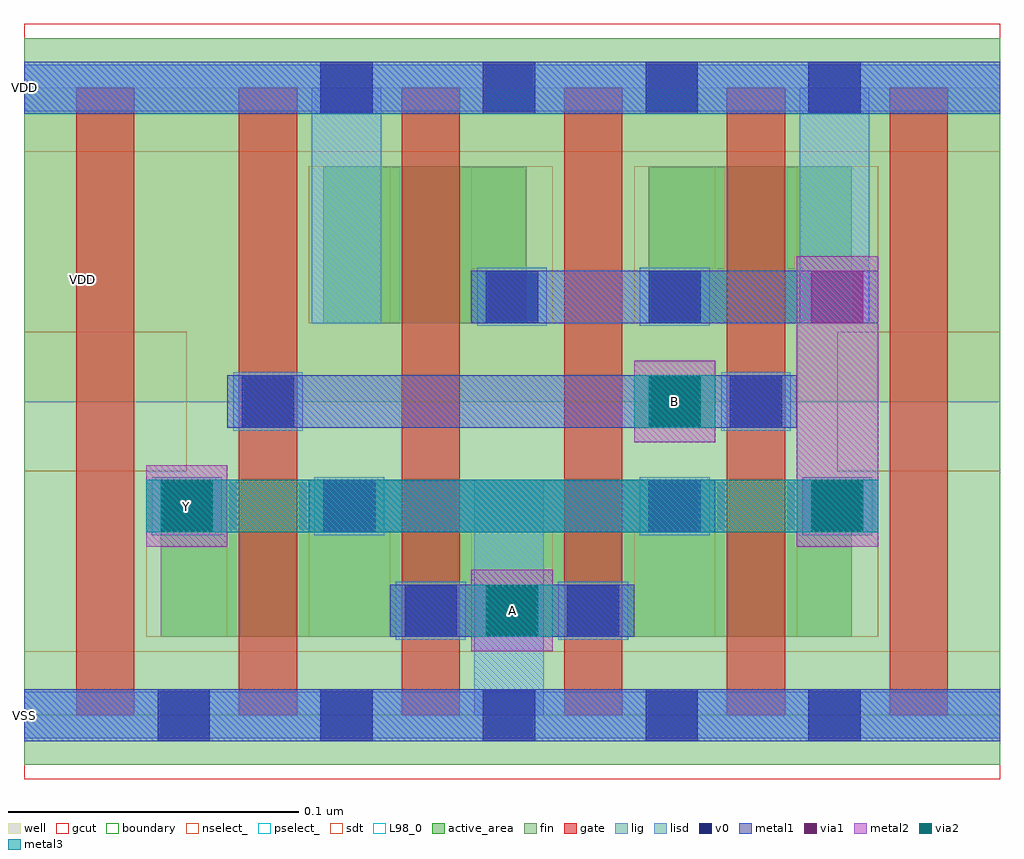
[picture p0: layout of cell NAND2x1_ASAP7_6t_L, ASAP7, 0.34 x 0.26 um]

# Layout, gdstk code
import gdstk
lib = gdstk.Library(unit=1e-6, precision=2.5e-10)
def R(c, l, rs):  # rectangles x0, y0, x1, y1
    for r in rs: c.add(gdstk.rectangle(r[:2], r[2:], *l))
def A(c, l, x, y, w, h, nx, ny, dx, dy):  # array of equal rectangles
    R(c, l, [(x+i*dx, y+j*dy, x+i*dx+w, y+j*dy+h) for i in range(nx) for j in range(ny)])
well = (1, 0)
fin = (2, 0)
gate = (7, 0)
gcut = (10, 0)
active_area = (11, 0)
nselect_ = (12, 0)
pselect_ = (13, 0)
lig = (16, 0)
lisd = (17, 0)
v0 = (18, 0)
metal1 = (19, 0)
metal2 = (20, 0)
via1 = (21, 0)
via2 = (25, 0)
metal3 = (30, 0)
sdt = (88, 0)
L98_0 = (98, 0)
boundary = (100, 0)

nand2x1_asap7_6t_l = lib.new_cell('NAND2x1_ASAP7_6t_L')
R(nand2x1_asap7_6t_l, well, [(-0.056,0.108,0.28,0.216)])
A(nand2x1_asap7_6t_l, fin, -0.056, -0.017, 0.336, 0.061, 1, 8, 0, 0.027)
A(nand2x1_asap7_6t_l, gate, -0.038, 0, 0.02, 0.216, 6, 1, 0.056, 0)
R(nand2x1_asap7_6t_l, gcut, [(-0.056,-0.022,0.28,0.022), (-0.056,0.084,0,0.132), (0.224,0.084,0.28,0.132), (-0.056,0.194,0.28,0.238)])
A(nand2x1_asap7_6t_l, active_area, -0.009, 0.027, 0.07, 0.054, 4, 1, 0.056, 0)
R(nand2x1_asap7_6t_l, active_area, [(0.047,0.135,0.117,0.189), (0.159,0.135,0.229,0.189)])
R(nand2x1_asap7_6t_l, nselect_, [(-0.056,0,0.28,0.108)])
R(nand2x1_asap7_6t_l, pselect_, [(-0.056,0.108,0.28,0.216)])
R(nand2x1_asap7_6t_l, lig, [(-0.056,-0.008,0.28,0.008), (0.072,0.026,0.096,0.046), (0.128,0.026,0.152,0.046), (0.016,0.098,0.04,0.118), (0.184,0.098,0.208,0.118), (-0.056,0.208,0.28,0.224)])
R(nand2x1_asap7_6t_l, lisd, [(0.099,0,0.123,0.081), (0.099,0,0.123,0.081), (-0.012,0.062,0.012,0.082), (0.044,0.062,0.068,0.082), (0.156,0.062,0.18,0.082), (0.212,0.062,0.236,0.082), (0.1,0.134,0.124,0.154), (0.156,0.134,0.18,0.154), (0.043,0.135,0.067,0.216), (0.211,0.135,0.235,0.216)])
A(nand2x1_asap7_6t_l, v0, 0.046, 0.207, 0.018, 0.018, 4, 1, 0.056, 0)
R(nand2x1_asap7_6t_l, v0, [(-0.01,-0.009,0.008,0.009), (0.046,-0.009,0.064,0.009), (0.046,-0.009,0.064,0.009), (0.102,-0.009,0.12,0.009), (0.102,-0.009,0.12,0.009), (0.158,-0.009,0.176,0.009), (0.158,-0.009,0.176,0.009), (0.214,-0.009,0.232,0.009), (0.075,0.027,0.093,0.045), (0.131,0.027,0.149,0.045), (-0.009,0.063,0.009,0.081), (0.047,0.063,0.065,0.081), (0.159,0.063,0.177,0.081), (0.215,0.063,0.233,0.081), (0.019,0.099,0.037,0.117), (0.187,0.099,0.205,0.117), (0.103,0.135,0.121,0.153), (0.159,0.135,0.177,0.153)])
A(nand2x1_asap7_6t_l, metal1, 0.07, 0.027, 0.028, 0.018, 3, 1, 0.028, 0)
A(nand2x1_asap7_6t_l, metal1, 0.098, 0.135, 0.028, 0.018, 3, 1, 0.056, 0)
R(nand2x1_asap7_6t_l, metal1, [(-0.056,-0.009,0.28,0.009), (0.07,0.027,0.154,0.045), (-0.014,0.063,0.014,0.081), (0.042,0.063,0.07,0.081), (0.042,0.063,0.182,0.081), (0.154,0.063,0.182,0.081), (0.21,0.063,0.238,0.081), (0.014,0.099,0.042,0.117), (0.014,0.099,0.182,0.117), (0.154,0.099,0.182,0.117), (0.154,0.099,0.21,0.117), (0.182,0.099,0.21,0.117), (0.098,0.135,0.182,0.153), (0.154,0.135,0.238,0.153), (-0.056,0.207,0.28,0.225)])
R(nand2x1_asap7_6t_l, metal2, [(0.098,0.022,0.126,0.05), (-0.014,0.058,0.014,0.086), (0.21,0.058,0.238,0.086), (0.21,0.058,0.238,0.086), (0.21,0.058,0.238,0.158), (0.154,0.094,0.182,0.122), (0.21,0.13,0.238,0.158)])
R(nand2x1_asap7_6t_l, via1, [(0.103,0.027,0.121,0.045), (-0.009,0.063,0.009,0.081), (0.215,0.063,0.233,0.081), (0.159,0.099,0.177,0.117), (0.215,0.135,0.233,0.153)])
R(nand2x1_asap7_6t_l, via2, [(0.103,0.027,0.121,0.045), (-0.009,0.063,0.009,0.081), (0.215,0.063,0.233,0.081), (0.159,0.099,0.177,0.117)])
R(nand2x1_asap7_6t_l, metal3, [(0.098,0.027,0.126,0.045), (-0.014,0.063,0.014,0.081), (-0.014,0.063,0.238,0.081), (0.21,0.063,0.238,0.081), (0.154,0.099,0.182,0.117)])
A(nand2x1_asap7_6t_l, sdt, 0.042, 0.135, 0.028, 0.054, 4, 1, 0.056, 0)
R(nand2x1_asap7_6t_l, sdt, [(-0.014,0.027,0.014,0.081), (0.042,0.027,0.07,0.081), (0.042,0.027,0.07,0.081), (0.098,0.027,0.126,0.081), (0.098,0.027,0.126,0.081), (0.154,0.027,0.182,0.081), (0.154,0.027,0.182,0.081), (0.21,0.027,0.238,0.081)])
R(nand2x1_asap7_6t_l, L98_0, [(-0.056,-0.009,0.28,0.207)])
R(nand2x1_asap7_6t_l, boundary, [(-0.056,-0.009,0.28,0.207)])
nand2x1_asap7_6t_l.add(gdstk.Label('VDD', (-0.036,0.15), layer=1, texttype=251))
nand2x1_asap7_6t_l.add(gdstk.Label('VSS', (-0.176,0.066), layer=3, texttype=251))
nand2x1_asap7_6t_l.add(gdstk.Label('VSS', (-0.056,0), layer=19, texttype=251))
nand2x1_asap7_6t_l.add(gdstk.Label('VDD', (-0.056,0.216), layer=19, texttype=251))
nand2x1_asap7_6t_l.add(gdstk.Label('B', (0.168,0.108), layer=30, texttype=251))
nand2x1_asap7_6t_l.add(gdstk.Label('A', (0.112,0.036), layer=30, texttype=251))
nand2x1_asap7_6t_l.add(gdstk.Label('Y', (0,0.072), layer=30, texttype=251))

lib.write_gds('NAND2x1_ASAP7_6t_L.gds')
